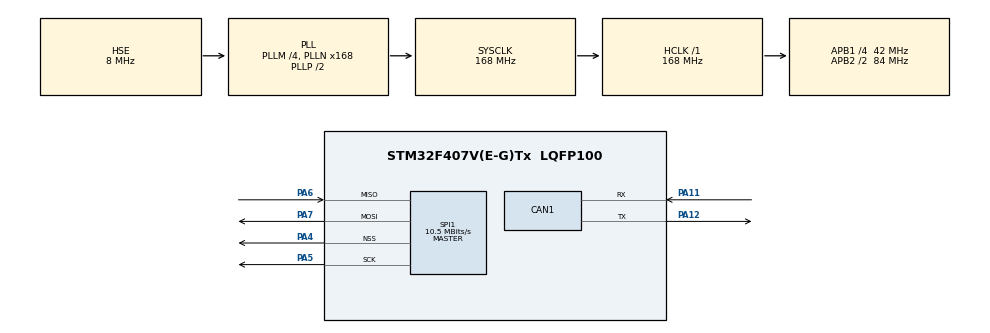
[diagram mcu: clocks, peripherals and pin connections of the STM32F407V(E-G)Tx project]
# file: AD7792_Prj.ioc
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CAN1.CalculateTimeQuantum=380.95238095238096
Mcu.Family=STM32F4
Mcu.Name=STM32F407V(E-G)Tx
Mcu.Package=LQFP100
NVIC.PriorityGroup=NVIC_PRIORITYGROUP_4
PA11.Mode=Master
PA11.Signal=CAN1_RX
PA12.Mode=Master
PA12.Signal=CAN1_TX
PA13.Mode=Trace_Asynchronous_SW
PA13.Signal=SYS_JTMS-SWDIO
PA14.Mode=Trace_Asynchronous_SW
PA14.Signal=SYS_JTCK-SWCLK
PA4.Mode=NSS_Signal_Hard_Output
PA4.Signal=SPI1_NSS
PA5.Mode=Full_Duplex_Master
PA5.Signal=SPI1_SCK
PA6.Mode=Full_Duplex_Master
PA6.Signal=SPI1_MISO
PA7.Mode=Full_Duplex_Master
PA7.Signal=SPI1_MOSI
PB3.Mode=Trace_Asynchronous_SW
PB3.Signal=SYS_JTDO-SWO
PH0-OSC_IN.Mode=HSE-External-Oscillator
PH0-OSC_IN.Signal=RCC_OSC_IN
PH1-OSC_OUT.Mode=HSE-External-Oscillator
PH1-OSC_OUT.Signal=RCC_OSC_OUT
ProjectManager.HeapSize=0x200
ProjectManager.StackSize=0x400
ProjectManager.TargetToolchain=STM32CubeIDE
RCC.48MHZClocksFreq_Value=84000000
RCC.AHBFreq_Value=168000000
RCC.APB1CLKDivider=RCC_HCLK_DIV4
RCC.APB1Freq_Value=42000000
RCC.APB1TimFreq_Value=84000000
RCC.APB2CLKDivider=RCC_HCLK_DIV2
RCC.APB2Freq_Value=84000000
RCC.APB2TimFreq_Value=168000000
RCC.CortexFreq_Value=168000000
RCC.HCLKFreq_Value=168000000
RCC.HSE_VALUE=8000000
RCC.HSI_VALUE=16000000
RCC.LSE_VALUE=32768
RCC.PLLM=4
RCC.PLLN=168
RCC.PLLSourceVirtual=RCC_PLLSOURCE_HSE
RCC.SYSCLKFreq_VALUE=168000000
RCC.SYSCLKSource=RCC_SYSCLKSOURCE_PLLCLK
RCC.VCOOutputFreq_Value=336000000
SPI1.BaudRatePrescaler=SPI_BAUDRATEPRESCALER_8
SPI1.CalculateBaudRate=10.5 MBits/s
SPI1.Direction=SPI_DIRECTION_2LINES
SPI1.Mode=SPI_MODE_MASTER
SPI1.VirtualNSS=VM_NSSHARD
SPI1.VirtualType=VM_MASTER
board=custom

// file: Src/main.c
/* USER CODE BEGIN Header */
/**
  ******************************************************************************
  * @file           : main.c
  * @brief          : Main program body
  ******************************************************************************
  * @attention
  *
  * <h2><center>&copy; Copyright (c) 2019 STMicroelectronics.
  * All rights reserved.</center></h2>
  *
  * This software component is licensed by ST under BSD 3-Clause license,
  * the "License"; You may not use this file except in compliance with the
  * License. You may obtain a copy of the License at:
  *                        opensource.org/licenses/BSD-3-Clause
  *
  ******************************************************************************
  */
/* USER CODE END Header */

#include "main.h"

/* USER CODE BEGIN Includes */
#include "stdio.h"
#include "AD7792.h"
/* USER CODE END Includes */

/* USER CODE BEGIN PTD */

#ifdef SOFTWARE_DEBUG
#define ITM_Port8(n)   (*((volatile unsigned char *)(0xE0000000+4*n)))
#define ITM_Port16(n)  (*((volatile unsigned short*)(0xE0000000+4*n)))
#define ITM_Port32(n)  (*((volatile unsigned long *)(0xE0000000+4*n)))

#define DEMCR          (*((volatile unsigned long *)(0xE000EDFC)))
#define TRCENA         0x01000000

struct __FILE {int handle; };

FILE  __stdout;
FILE  __stdin;
int fputc (int ch, FILE *f)
 {
	if (DEMCR & TRCENA) {

		while (ITM_Port32(0) == 0);
		ITM_Port8(0) = ch;
	}
	return(ch);
	}
#endif

/* USER CODE END PTD */

CAN_HandleTypeDef hcan1;

SPI_HandleTypeDef hspi1;

void SystemClock_Config(void);
static void MX_GPIO_Init(void);
static void MX_SPI1_Init(void);
static void MX_CAN1_Init(void);

int main(void)
{

  /* MCU Configuration--------------------------------------------------------*/

  /* Reset of all peripherals, Initializes the Flash interface and the Systick. */
  HAL_Init();

  /* Configure the system clock */
  SystemClock_Config();

  /* Initialize all configured peripherals */
  MX_GPIO_Init();
  MX_SPI1_Init();
  MX_CAN1_Init();

  /* Infinite loop */
  while (1)
  {

    /* USER CODE BEGIN 3 */

	  printf("Hello from stm32!\r\n");
	 // HAL_Delay(250);
  }
  /* USER CODE END 3 */
}

void SystemClock_Config(void)
{
  RCC_OscInitTypeDef RCC_OscInitStruct = {0};
  RCC_ClkInitTypeDef RCC_ClkInitStruct = {0};

  /** Configure the main internal regulator output voltage
  */
  __HAL_RCC_PWR_CLK_ENABLE();
  __HAL_PWR_VOLTAGESCALING_CONFIG(PWR_REGULATOR_VOLTAGE_SCALE1);
  /** Initializes the CPU, AHB and APB busses clocks
  */
  RCC_OscInitStruct.OscillatorType = RCC_OSCILLATORTYPE_HSE;
  RCC_OscInitStruct.HSEState = RCC_HSE_ON;
  RCC_OscInitStruct.PLL.PLLState = RCC_PLL_ON;
  RCC_OscInitStruct.PLL.PLLSource = RCC_PLLSOURCE_HSE;
  RCC_OscInitStruct.PLL.PLLM = 4;
  RCC_OscInitStruct.PLL.PLLN = 168;
  RCC_OscInitStruct.PLL.PLLP = RCC_PLLP_DIV2;
  RCC_OscInitStruct.PLL.PLLQ = 4;
  if (HAL_RCC_OscConfig(&RCC_OscInitStruct) != HAL_OK)
  {
    Error_Handler();
  }
  /** Initializes the CPU, AHB and APB busses clocks
  */
  RCC_ClkInitStruct.ClockType = RCC_CLOCKTYPE_HCLK|RCC_CLOCKTYPE_SYSCLK
                              |RCC_CLOCKTYPE_PCLK1|RCC_CLOCKTYPE_PCLK2;
  RCC_ClkInitStruct.SYSCLKSource = RCC_SYSCLKSOURCE_PLLCLK;
  RCC_ClkInitStruct.AHBCLKDivider = RCC_SYSCLK_DIV1;
  RCC_ClkInitStruct.APB1CLKDivider = RCC_HCLK_DIV4;
  RCC_ClkInitStruct.APB2CLKDivider = RCC_HCLK_DIV2;

  if (HAL_RCC_ClockConfig(&RCC_ClkInitStruct, FLASH_LATENCY_5) != HAL_OK)
  {
    Error_Handler();
  }
}

static void MX_CAN1_Init(void)
{

  hcan1.Instance = CAN1;
  hcan1.Init.Prescaler = 16;
  hcan1.Init.Mode = CAN_MODE_NORMAL;
  hcan1.Init.SyncJumpWidth = CAN_SJW_1TQ;
  hcan1.Init.TimeSeg1 = CAN_BS1_1TQ;
  hcan1.Init.TimeSeg2 = CAN_BS2_1TQ;
  hcan1.Init.TimeTriggeredMode = DISABLE;
  hcan1.Init.AutoBusOff = DISABLE;
  hcan1.Init.AutoWakeUp = DISABLE;
  hcan1.Init.AutoRetransmission = DISABLE;
  hcan1.Init.ReceiveFifoLocked = DISABLE;
  hcan1.Init.TransmitFifoPriority = DISABLE;
  if (HAL_CAN_Init(&hcan1) != HAL_OK)
  {
    Error_Handler();
  }

}

static void MX_SPI1_Init(void)
{

  /* SPI1 parameter configuration*/
  hspi1.Instance = SPI1;
  hspi1.Init.Mode = SPI_MODE_MASTER;
  hspi1.Init.Direction = SPI_DIRECTION_2LINES;
  hspi1.Init.DataSize = SPI_DATASIZE_8BIT;
  hspi1.Init.CLKPolarity = SPI_POLARITY_LOW;
  hspi1.Init.CLKPhase = SPI_PHASE_1EDGE;
  hspi1.Init.NSS = SPI_NSS_HARD_OUTPUT;
  hspi1.Init.BaudRatePrescaler = SPI_BAUDRATEPRESCALER_8;
  hspi1.Init.FirstBit = SPI_FIRSTBIT_MSB;
  hspi1.Init.TIMode = SPI_TIMODE_DISABLE;
  hspi1.Init.CRCCalculation = SPI_CRCCALCULATION_DISABLE;
  hspi1.Init.CRCPolynomial = 10;
  if (HAL_SPI_Init(&hspi1) != HAL_OK)
  {
    Error_Handler();
  }

}

static void MX_GPIO_Init(void)
{

  /* GPIO Ports Clock Enable */
  __HAL_RCC_GPIOH_CLK_ENABLE();
  __HAL_RCC_GPIOA_CLK_ENABLE();
  __HAL_RCC_GPIOB_CLK_ENABLE();

}

void Error_Handler(void)
{
}

/************************ (C) COPYRIGHT STMicroelectronics *****END OF FILE****/
